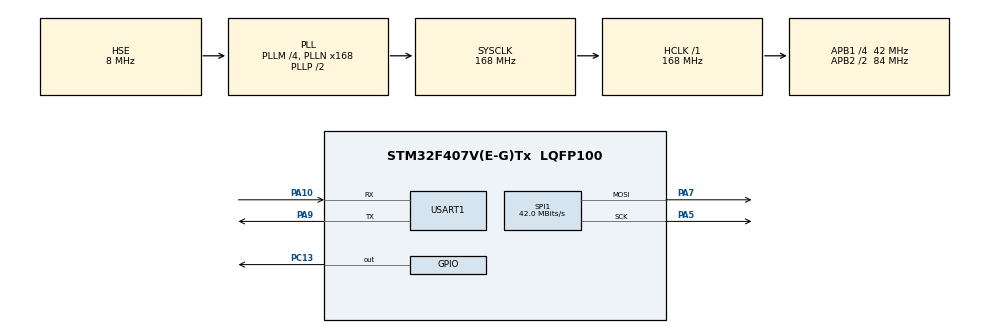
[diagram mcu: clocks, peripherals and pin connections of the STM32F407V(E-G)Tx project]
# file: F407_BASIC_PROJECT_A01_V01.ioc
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Dma.Request0=USART1_RX
Dma.USART1_RX.0.Direction=DMA_PERIPH_TO_MEMORY
Dma.USART1_RX.0.FIFOMode=DMA_FIFOMODE_DISABLE
Dma.USART1_RX.0.Instance=DMA2_Stream5
Dma.USART1_RX.0.MemDataAlignment=DMA_MDATAALIGN_BYTE
Dma.USART1_RX.0.MemInc=DMA_MINC_ENABLE
Dma.USART1_RX.0.Mode=DMA_NORMAL
Dma.USART1_RX.0.PeriphDataAlignment=DMA_PDATAALIGN_BYTE
Dma.USART1_RX.0.PeriphInc=DMA_PINC_DISABLE
Dma.USART1_RX.0.Priority=DMA_PRIORITY_LOW
FREERTOS.Tasks01=defaultTask,24,128,StartDefaultTask,Default,NULL,Dynamic,NULL,NULL
FREERTOS.configCHECK_FOR_STACK_OVERFLOW=1
FREERTOS.configENABLE_FPU=1
FREERTOS.configUSE_MALLOC_FAILED_HOOK=1
Mcu.Family=STM32F4
Mcu.Name=STM32F407V(E-G)Tx
Mcu.Package=LQFP100
NVIC.DMA2_Stream5_IRQn=true\:0\:0\:false\:false\:true\:false\:false\:true\:true
NVIC.PriorityGroup=NVIC_PRIORITYGROUP_4
NVIC.TIM1_UP_TIM10_IRQn=true\:5\:0\:false\:false\:true\:true\:true\:true\:true
NVIC.TIM2_IRQn=true\:15\:0\:false\:false\:true\:false\:false\:true\:true
NVIC.TIM5_IRQn=true\:5\:0\:false\:false\:true\:true\:true\:true\:true
NVIC.TimeBase=TIM2_IRQn
NVIC.TimeBaseIP=TIM2
NVIC.USART1_IRQn=true\:5\:0\:false\:false\:true\:true\:true\:true\:true
PA10.Mode=Asynchronous
PA10.Signal=USART1_RX
PA13.Mode=Serial_Wire
PA13.Signal=SYS_JTMS-SWDIO
PA14.Mode=Serial_Wire
PA14.Signal=SYS_JTCK-SWCLK
PA5.Mode=TX_Only_Simplex_Unidirect_Master
PA5.Signal=SPI1_SCK
PA7.Mode=TX_Only_Simplex_Unidirect_Master
PA7.Signal=SPI1_MOSI
PA9.Mode=Asynchronous
PA9.Signal=USART1_TX
PC13-ANTI_TAMP.Signal=GPIO_Output
PC14-OSC32_IN.Mode=LSE-External-Oscillator
PC14-OSC32_IN.Signal=RCC_OSC32_IN
PC15-OSC32_OUT.Mode=LSE-External-Oscillator
PC15-OSC32_OUT.Signal=RCC_OSC32_OUT
PH0-OSC_IN.Mode=HSE-External-Oscillator
PH0-OSC_IN.Signal=RCC_OSC_IN
PH1-OSC_OUT.Mode=HSE-External-Oscillator
PH1-OSC_OUT.Signal=RCC_OSC_OUT
ProjectManager.HeapSize=0x200
ProjectManager.StackSize=0x400
ProjectManager.TargetToolchain=Makefile
RCC.48MHZClocksFreq_Value=84000000
RCC.AHBFreq_Value=168000000
RCC.APB1CLKDivider=RCC_HCLK_DIV4
RCC.APB1Freq_Value=42000000
RCC.APB1TimFreq_Value=84000000
RCC.APB2CLKDivider=RCC_HCLK_DIV2
RCC.APB2Freq_Value=84000000
RCC.APB2TimFreq_Value=168000000
RCC.CortexFreq_Value=168000000
RCC.HCLKFreq_Value=168000000
RCC.HSE_VALUE=8000000
RCC.HSI_VALUE=16000000
RCC.PLLM=4
RCC.PLLN=168
RCC.PLLSourceVirtual=RCC_PLLSOURCE_HSE
RCC.SYSCLKFreq_VALUE=168000000
RCC.SYSCLKSource=RCC_SYSCLKSOURCE_PLLCLK
RCC.VCOOutputFreq_Value=336000000
SPI1.CalculateBaudRate=42.0 MBits/s
SPI1.Direction=SPI_DIRECTION_2LINES
SPI1.Mode=SPI_MODE_MASTER
SPI1.VirtualType=VM_MASTER
TIM1.AutoReloadPreload=TIM_AUTORELOAD_PRELOAD_ENABLE
TIM1.Period=9999
TIM1.Prescaler=16799
USART1.VirtualMode=VM_ASYNC
VP_FREERTOS_VS_CMSIS_V2.Mode=CMSIS_V2
VP_SYS_VS_tim2.Mode=TIM2
VP_TIM1_VS_ClockSourceINT.Mode=Internal
VP_TIM5_VS_ClockSourceINT.Mode=Internal
board=custom

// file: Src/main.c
/* USER CODE BEGIN Header */
/**
  ******************************************************************************
  * @file           : main.c
  * @brief          : Main program body
  ******************************************************************************
  * @attention
  *
  * Copyright (c) 2023 STMicroelectronics.
  * All rights reserved.
  *
  * This software is licensed under terms that can be found in the LICENSE file
  * in the root directory of this software component.
  * If no LICENSE file comes with this software, it is provided AS-IS.
  *
  ******************************************************************************
  */
/* USER CODE END Header */
#include "main.h"
#include "cmsis_os.h"
#include "dma.h"
#include "spi.h"
#include "tim.h"
#include "usart.h"
#include "gpio.h"

/* USER CODE BEGIN PTD */
typedef struct {
    uint8_t r;
    uint8_t g;
    uint8_t b;
} RGB;
/* USER CODE END PTD */

void SystemClock_Config(void);
void MX_FREERTOS_Init(void);
/* USER CODE BEGIN PFP */
void rgb565(RGB rgb, uint8_t* output) {
    uint16_t r = (rgb.r >> 3) << 11;
    uint16_t g = (rgb.g >> 2) << 5;
    uint16_t b = (rgb.b >> 3);
    uint16_t tmp = (r | g | b);
    output[0] = tmp >> 8;
    output[1] = tmp & 0xFF;
}
/* USER CODE END PFP */

int main(void)
{
  /* USER CODE BEGIN 1 */
    //GPIO_InitTypeDef GPIO_InitStruct;
  RGB BgColor = {255, 0, 0};
  uint8_t Pixel_Array[2] = {0};
  /* USER CODE END 1 */

  /* MCU Configuration--------------------------------------------------------*/

  /* Reset of all peripherals, Initializes the Flash interface and the Systick. */
  HAL_Init();

  /* Configure the system clock */
  SystemClock_Config();

  /* Initialize all configured peripherals */
  MX_GPIO_Init();
  MX_DMA_Init();
  MX_TIM5_Init();
  MX_TIM1_Init();
  MX_SPI1_Init();
  MX_USART1_UART_Init();
  /* USER CODE BEGIN 2 */
  printf("F407 initialize complete\r\n");
  /* USER CODE END 2 */

  /* Init scheduler */
  int rs = osKernelInitialize();

  printf("osKernelInitialize return %d\r\n", rs);

  /* Call init function for freertos objects (in freertos.c) */
  MX_FREERTOS_Init();

  /* Start scheduler */
  osKernelStart();

  /* We should never get here as control is now taken by the scheduler */
  /* Infinite loop */
  /* USER CODE BEGIN WHILE */
    //HAL_TIM_PWM_Start(&htim5,TIM_CHANNEL_1);
  rgb565(BgColor, Pixel_Array);
  //HAL_SPI_Transmit(&hspi1, (uint8_t*)Pixel_Array, 2, 5000);
	HAL_TIM_Base_Start_IT(&htim1);
    while (1)
    {
    /* USER CODE END WHILE */

    /* USER CODE BEGIN 3 */
		HAL_Delay(1000);
    printf("This is UART test2\r\n");
    }
  /* USER CODE END 3 */
}

void SystemClock_Config(void)
{
  RCC_OscInitTypeDef RCC_OscInitStruct = {0};
  RCC_ClkInitTypeDef RCC_ClkInitStruct = {0};

  /** Configure the main internal regulator output voltage
  */
  __HAL_RCC_PWR_CLK_ENABLE();
  __HAL_PWR_VOLTAGESCALING_CONFIG(PWR_REGULATOR_VOLTAGE_SCALE1);

  /** Initializes the RCC Oscillators according to the specified parameters
  * in the RCC_OscInitTypeDef structure.
  */
  RCC_OscInitStruct.OscillatorType = RCC_OSCILLATORTYPE_HSE;
  RCC_OscInitStruct.HSEState = RCC_HSE_ON;
  RCC_OscInitStruct.PLL.PLLState = RCC_PLL_ON;
  RCC_OscInitStruct.PLL.PLLSource = RCC_PLLSOURCE_HSE;
  RCC_OscInitStruct.PLL.PLLM = 4;
  RCC_OscInitStruct.PLL.PLLN = 168;
  RCC_OscInitStruct.PLL.PLLP = RCC_PLLP_DIV2;
  RCC_OscInitStruct.PLL.PLLQ = 4;
  if (HAL_RCC_OscConfig(&RCC_OscInitStruct) != HAL_OK)
  {
    Error_Handler();
  }

  /** Initializes the CPU, AHB and APB buses clocks
  */
  RCC_ClkInitStruct.ClockType = RCC_CLOCKTYPE_HCLK|RCC_CLOCKTYPE_SYSCLK
                              |RCC_CLOCKTYPE_PCLK1|RCC_CLOCKTYPE_PCLK2;
  RCC_ClkInitStruct.SYSCLKSource = RCC_SYSCLKSOURCE_PLLCLK;
  RCC_ClkInitStruct.AHBCLKDivider = RCC_SYSCLK_DIV1;
  RCC_ClkInitStruct.APB1CLKDivider = RCC_HCLK_DIV4;
  RCC_ClkInitStruct.APB2CLKDivider = RCC_HCLK_DIV2;

  if (HAL_RCC_ClockConfig(&RCC_ClkInitStruct, FLASH_LATENCY_5) != HAL_OK)
  {
    Error_Handler();
  }
}

/* USER CODE BEGIN 4 */
// void HAL_TIM_PeriodElapsedCallback(TIM_HandleTypeDef *htim)
// {
// 	//HAL_GPIO_TogglePin(GPIOC, GPIO_PIN_13);
// }
/* USER CODE END 4 */

void HAL_TIM_PeriodElapsedCallback(TIM_HandleTypeDef *htim)
{
  if (htim->Instance == TIM2) {
    HAL_IncTick();
  }
}

void Error_Handler(void)
{
  __disable_irq();
  while (1)
  {
  }
}

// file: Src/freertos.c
/* USER CODE BEGIN Header */
/**
  ******************************************************************************
  * File Name          : freertos.c
  * Description        : Code for freertos applications
  ******************************************************************************
  * @attention
  *
  * Copyright (c) 2024 STMicroelectronics.
  * All rights reserved.
  *
  * This software is licensed under terms that can be found in the LICENSE file
  * in the root directory of this software component.
  * If no LICENSE file comes with this software, it is provided AS-IS.
  *
  ******************************************************************************
  */
/* USER CODE END Header */

#include "FreeRTOS.h"
#include "task.h"
#include "main.h"
#include "cmsis_os2.h"

/* USER CODE BEGIN Includes */
#include "stm32f4xx_hal_gpio.h"
/* USER CODE END Includes */

/* USER CODE BEGIN Variables */
osThreadId_t Led_Task_hndl;
const osThreadAttr_t Led_Task_attributes = {
  .name = "LedTask",
  .stack_size = 128 * 5,
  .priority = (osPriority_t) osPriorityNormal,
};
/* USER CODE END Variables */
/* Definitions for defaultTask */
osThreadId_t defaultTaskHandle;
const osThreadAttr_t defaultTask_attributes = {
  .name = "defaultTask",
  .stack_size = 128 * 4,
  .priority = (osPriority_t) osPriorityNormal,
};
osSemaphoreId_t led_sem_t;

void StartDefaultTask(void *argument);

void MX_FREERTOS_Init(void); /* (MISRA C 2004 rule 8.1) */

/* Hook prototypes */
void vApplicationStackOverflowHook(xTaskHandle xTask, signed char *pcTaskName);
void vApplicationMallocFailedHook(void);

/* USER CODE BEGIN 4 */
void vApplicationStackOverflowHook(xTaskHandle xTask, signed char *pcTaskName)
{
   /* Run time stack overflow checking is performed if
   configCHECK_FOR_STACK_OVERFLOW is defined to 1 or 2. This hook function is
   called if a stack overflow is detected. */
}
/* USER CODE END 4 */

/* USER CODE BEGIN 5 */
void vApplicationMallocFailedHook(void)
{
   /* vApplicationMallocFailedHook() will only be called if
   configUSE_MALLOC_FAILED_HOOK is set to 1 in FreeRTOSConfig.h. It is a hook
   function that will get called if a call to pvPortMalloc() fails.
   pvPortMalloc() is called internally by the kernel whenever a task, queue,
   timer or semaphore is created. It is also called by various parts of the
   demo application. If heap_1.c or heap_2.c are used, then the size of the
   heap available to pvPortMalloc() is defined by configTOTAL_HEAP_SIZE in
   FreeRTOSConfig.h, and the xPortGetFreeHeapSize() API function can be used
   to query the size of free heap space that remains (although it does not
   provide information on how the remaining heap might be fragmented). */
}
/* USER CODE END 5 */

void MX_FREERTOS_Init(void) {

  /* Create the thread(s) */
  /* creation of defaultTask */
  printf("start to creat default thread\r\n");
  defaultTaskHandle = osThreadNew(StartDefaultTask, NULL, &defaultTask_attributes);
  printf("default thread:%d\r\n", defaultTaskHandle);
  Led_Task_hndl = osThreadNew(StartDefaultTask, NULL, &Led_Task_attributes);
  printf("LED thread:%d\r\n", Led_Task_hndl);

}

void StartDefaultTask(void *argument)
{
  osSemaphoreAttr_t sem_attr = {0};

  //sem_attr.cb_size = 0;
  sem_attr.cb_mem = NULL;
  sem_attr.name = "LED_Semaphore";
  /* USER CODE BEGIN StartDefaultTask */
  led_sem_t = osSemaphoreNew(1, 1, &sem_attr);
  /* Infinite loop */
  while(1)
  {
    printf("Trace SemId [%d] ptr [%p]\r\n", *(int*)led_sem_t, led_sem_t);
    osSemaphoreAcquire(led_sem_t, portMAX_DELAY);
    printf("Defaut Task Trace Recv From LED Task [%d]\r\n", __LINE__);
  }
  /* USER CODE END StartDefaultTask */
}

/* USER CODE BEGIN Application */
void Led_Task(void *argument)
{
  	uint8_t Pulse_Ratio = 0;   //PWM占空�?????
    while(1)
    {
#if 1
#define MAX_PULSE_FREQ		30
      while(Pulse_Ratio < MAX_PULSE_FREQ)
      {
        Pulse_Ratio++;
        //__HAL_TIM_SetCompare(&htim5, TIM_CHANNEL_1, Pulse_Ratio);
        HAL_GPIO_WritePin(GPIOC, GPIO_PIN_13, GPIO_PIN_RESET);
        HAL_Delay(Pulse_Ratio);
        HAL_GPIO_WritePin(GPIOC, GPIO_PIN_13, GPIO_PIN_SET);
        HAL_Delay(MAX_PULSE_FREQ-Pulse_Ratio);
      }
      while(Pulse_Ratio > 0)
      {
        Pulse_Ratio--;
        //__HAL_TIM_SetCompare(&htim5, TIM_CHANNEL_1, Pulse_Ratio);
        HAL_GPIO_WritePin(GPIOC, GPIO_PIN_13, GPIO_PIN_RESET);
        HAL_Delay(Pulse_Ratio);
        HAL_GPIO_WritePin(GPIOC, GPIO_PIN_13, GPIO_PIN_SET);
        HAL_Delay(MAX_PULSE_FREQ-Pulse_Ratio);
      }
      printf("LED Task Trace Release[%d]\r\n", __LINE__);
      osSemaphoreRelease(led_sem_t);
#endif
    }
}
/* USER CODE END Application */
